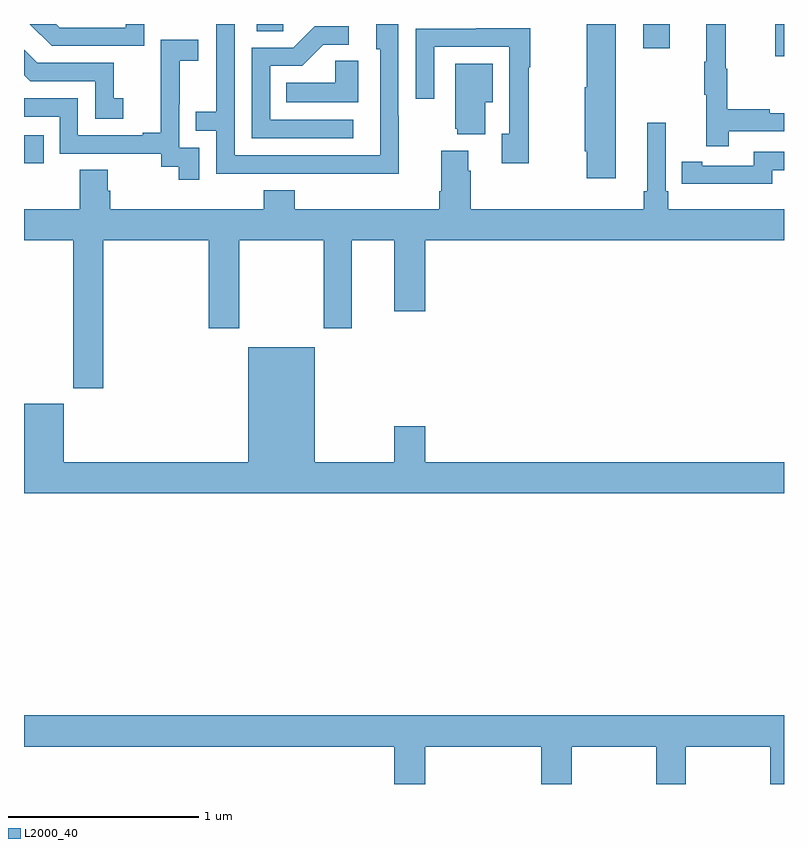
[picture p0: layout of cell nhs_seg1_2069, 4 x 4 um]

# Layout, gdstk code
import gdstk
lib = gdstk.Library(unit=1e-6, precision=1e-09)
def R(c, l, rs):  # rectangles x0, y0, x1, y1
    for r in rs: c.add(gdstk.rectangle(r[:2], r[2:], *l))
def P(c, l, *ps):  # polygons
    for p in ps: c.add(gdstk.Polygon(p, *l))
L2000_40 = (2000, 40)

nhs_seg1_2069 = lib.new_cell('nhs_seg1_2069')
R(nhs_seg1_2069, L2000_40, [(223,557.466,223.103,557.613), (226.955,558.03,227,558.199), (226.259,558.072,226.399,558.199), (224.225,558.16,224.364,558.199)])
P(nhs_seg1_2069, L2000_40, [(224.973,557.717),(224.97,557.717),(224.97,558.199),(224.855,558.199),(224.855,558.066),(224.874,558.066),(224.874,557.508),(224.109,557.508),(224.109,558.199),(224.013,558.199),(224.013,557.738),(223.903,557.738),(223.903,557.637),(224.013,557.637),(224.013,557.412),(224.509,557.412),(224.509,557.411),(224.973,557.411)],
  [(223.632,558.199),(223.535,558.199),(223.535,558.18),(223.188,558.18),(223.169,558.199),(223.031,558.199),(223.146,558.084),(223.632,558.084)],
  [(226.114,558.199),(225.961,558.199),(225.961,557.865),(225.95,557.865),(225.95,557.529),(225.961,557.529),(225.961,557.388),(226.114,557.388)],
  [(226.709,557.634),(227,557.634),(227,557.73),(226.925,557.73),(226.925,557.75),(226.702,557.75),(226.702,557.964),(226.694,557.964),(226.694,558.199),(226.592,558.199),(226.592,558.001),(226.581,558.001),(226.581,557.827),(226.592,557.827),(226.592,557.556),(226.709,557.556)],
  [(224.734,557.694),(224.295,557.694),(224.295,557.979),(224.464,557.979),(224.575,558.09),(224.71,558.09),(224.71,558.188),(224.531,558.188),(224.418,558.075),(224.199,558.075),(224.199,557.598),(224.734,557.598)],
  [(225.656,557.971),(225.664,557.971),(225.664,558.176),(225.379,558.176),(225.379,558.174),(225.063,558.174),(225.063,557.805),(225.159,557.805),(225.159,558.078),(225.555,558.078),(225.555,557.622),(225.515,557.622),(225.515,557.466),(225.656,557.466)],
  [(223.923,557.547),(223.818,557.547),(223.818,557.777),(223.82,557.777),(223.82,558.005),(223.918,558.005),(223.918,558.115),(223.72,558.115),(223.72,557.909),(223.721,557.909),(223.721,557.626),(223.625,557.626),(223.625,557.613),(223.284,557.613),(223.284,557.808),(223,557.808),(223,557.712),(223.188,557.712),(223.188,557.517),(223.722,557.517),(223.722,557.449),(223.815,557.449),(223.815,557.379),(223.923,557.379)],
  [(223.522,557.809),(223.473,557.809),(223.473,557.994),(223.069,557.994),(223,558.063),(223,557.93),(223.032,557.898),(223.374,557.898),(223.374,557.7),(223.522,557.7)],
  [(224.758,558.005),(224.637,558.005),(224.637,557.89),(224.38,557.89),(224.38,557.786),(224.758,557.786)],
  [(225.427,557.786),(225.466,557.786),(225.466,557.989),(225.269,557.989),(225.269,557.649),(225.281,557.649),(225.281,557.618),(225.427,557.618)],
  [(223,557.06),(223.258,557.06),(223.258,556.281),(223.418,556.281),(223.418,557.06),(223.973,557.06),(223.973,556.599),(224.133,556.599),(224.133,557.06),(224.578,557.06),(224.578,556.599),(224.725,556.599),(224.725,557.06),(224.948,557.06),(224.948,556.686),(225.112,556.686),(225.112,557.06),(227,557.06),(227,557.224),(226.391,557.224),(226.391,557.32),(226.377,557.32),(226.377,557.68),(226.28,557.68),(226.28,557.32),(226.261,557.32),(226.261,557.224),(225.35,557.224),(225.35,557.426),(225.337,557.426),(225.337,557.533),(225.197,557.533),(225.197,557.32),(225.185,557.32),(225.185,557.224),(224.426,557.224),(224.426,557.323),(224.261,557.323),(224.261,557.224),(223.454,557.224),(223.454,557.322),(223.441,557.322),(223.441,557.432),(223.294,557.432),(223.294,557.224),(223,557.224)],
  [(226.938,557.43),(227,557.43),(227,557.526),(226.842,557.526),(226.842,557.454),(226.57,557.454),(226.57,557.474),(226.462,557.474),(226.462,557.358),(226.57,557.358),(226.57,557.357),(226.938,557.357)],
  [(227,555.892),(225.112,555.892),(225.112,556.081),(224.948,556.081),(224.948,555.892),(224.53,555.892),(224.53,556.498),(224.18,556.498),(224.18,555.892),(223.21,555.892),(223.21,556.201),(223,556.201),(223,555.728),(227,555.728)],
  [(225.112,554.396),(225.722,554.396),(225.722,554.199),(225.882,554.199),(225.882,554.396),(226.327,554.396),(226.327,554.199),(226.482,554.199),(226.482,554.396),(226.927,554.396),(226.927,554.199),(227,554.199),(227,554.56),(223,554.56),(223,554.396),(224.948,554.396),(224.948,554.199),(225.112,554.199)])

lib.write_gds('nhs_seg1_2069.gds')
